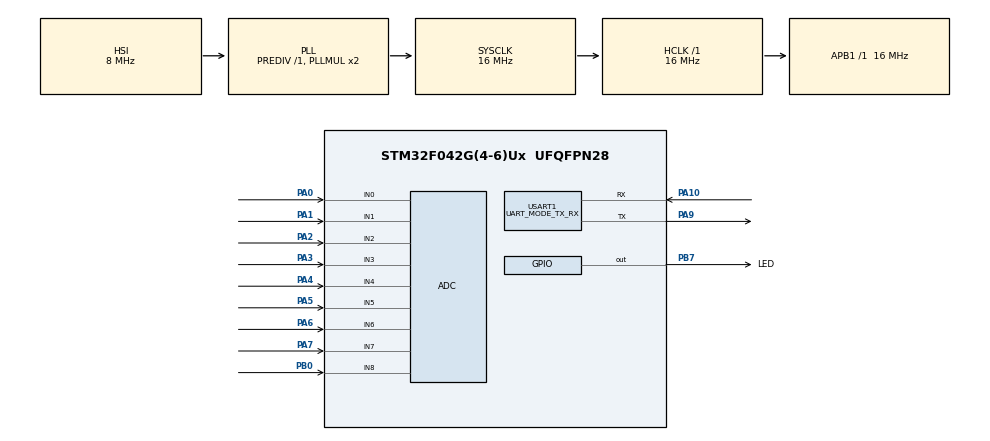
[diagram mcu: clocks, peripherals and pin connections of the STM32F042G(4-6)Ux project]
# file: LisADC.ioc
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ADC.ContinuousConvMode=ENABLE
Mcu.Family=STM32F0
Mcu.Name=STM32F042G(4-6)Ux
Mcu.Package=UFQFPN28
NVIC.USART1_IRQn=true\:0\:0\:false
PA0.Mode=IN0
PA0.Signal=ADC_IN0
PA1.Mode=IN1
PA1.Signal=ADC_IN1
PA10.Mode=Asynchronous
PA10.Signal=USART1_RX
PA13.Mode=Serial-WireDebug
PA13.Signal=SYS_SWDIO
PA14.Mode=Serial-WireDebug
PA14.Signal=SYS_SWCLK
PA2.Mode=IN2
PA2.Signal=ADC_IN2
PA3.Mode=IN3
PA3.Signal=ADC_IN3
PA4.Mode=IN4
PA4.Signal=ADC_IN4
PA5.Mode=IN5
PA5.Signal=ADC_IN5
PA6.Mode=IN6
PA6.Signal=ADC_IN6
PA7.Mode=IN7
PA7.Signal=ADC_IN7
PA9.Mode=Asynchronous
PA9.Signal=USART1_TX
PB0.Mode=IN8
PB0.Signal=ADC_IN8
PB7.GPIO_Label=LED
PB7.Signal=GPIO_Output
ProjectManager.TargetToolchain=SW4STM32
RCC.AHBFreq_Value=16000000
RCC.APB1Freq_Value=16000000
RCC.APB1TimFreq_Value=16000000
RCC.HCLKFreq_Value=16000000
RCC.SYSCLKFreq_VALUE=16000000
RCC.SYSCLKSource=RCC_SYSCLKSOURCE_PLLCLK
USART1.Mode=UART_MODE_TX_RX
USART1.OneBitSampling=UART_ONEBIT_SAMPLING_DISABLED 
USART1.SwapParam=UART_ADVFEATURE_SWAP_ENABLE
USART1.WordLength=UART_WORDLENGTH_8B
board=LisADC

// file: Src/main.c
/**
  ******************************************************************************
  * File Name          : main.c
  * Description        : Main program body
  ******************************************************************************
  *
  * COPYRIGHT(c) 2016 STMicroelectronics
  *
  * Redistribution and use in source and binary forms, with or without modification,
  * are permitted provided that the following conditions are met:
  *   1. Redistributions of source code must retain the above copyright notice,
  *      this list of conditions and the following disclaimer.
  *   2. Redistributions in binary form must reproduce the above copyright notice,
  *      this list of conditions and the following disclaimer in the documentation
  *      and/or other materials provided with the distribution.
  *   3. Neither the name of STMicroelectronics nor the names of its contributors
  *      may be used to endorse or promote products derived from this software
  *      without specific prior written permission.
  *
  * THIS SOFTWARE IS PROVIDED BY THE COPYRIGHT HOLDERS AND CONTRIBUTORS "AS IS"
  * AND ANY EXPRESS OR IMPLIED WARRANTIES, INCLUDING, BUT NOT LIMITED TO, THE
  * IMPLIED WARRANTIES OF MERCHANTABILITY AND FITNESS FOR A PARTICULAR PURPOSE ARE
  * DISCLAIMED. IN NO EVENT SHALL THE COPYRIGHT HOLDER OR CONTRIBUTORS BE LIABLE
  * FOR ANY DIRECT, INDIRECT, INCIDENTAL, SPECIAL, EXEMPLARY, OR CONSEQUENTIAL
  * DAMAGES (INCLUDING, BUT NOT LIMITED TO, PROCUREMENT OF SUBSTITUTE GOODS OR
  * SERVICES; LOSS OF USE, DATA, OR PROFITS; OR BUSINESS INTERRUPTION) HOWEVER
  * CAUSED AND ON ANY THEORY OF LIABILITY, WHETHER IN CONTRACT, STRICT LIABILITY,
  * OR TORT (INCLUDING NEGLIGENCE OR OTHERWISE) ARISING IN ANY WAY OUT OF THE USE
  * OF THIS SOFTWARE, EVEN IF ADVISED OF THE POSSIBILITY OF SUCH DAMAGE.
  *
  ******************************************************************************
  */
#include "stm32f0xx_hal.h"
#include "adc.h"
#include "usart.h"
#include "gpio.h"

/* USER CODE BEGIN Includes */
#include "string.h"
/* USER CODE END Includes */

/* USER CODE BEGIN PV */
/* Private variables ---------------------------------------------------------*/
#define BLINK_TIME 50
uint16_t adc_values[3];
uint8_t adc_msg[12];
uint32_t blink_cnt = 0;

/* USER CODE END PV */

void SystemClock_Config(void);

/* USER CODE BEGIN PFP */
/* Private function prototypes -----------------------------------------------*/
void construct_pprz_msg();
/* USER CODE END PFP */

int main(void)
{

  /* MCU Configuration----------------------------------------------------------*/

  /* Reset of all peripherals, Initializes the Flash interface and the Systick. */
  HAL_Init();

  /* Configure the system clock */
  SystemClock_Config();

  /* Initialize all configured peripherals */
  MX_GPIO_Init();
  MX_ADC_Init();
  MX_USART1_UART_Init();

  /* USER CODE BEGIN 2 */
  // LED OFF
  HAL_GPIO_WritePin(LED_GPIO_Port, LED_Pin, GPIO_PIN_SET);

  uint32_t previous_tick = 0;
  /* USER CODE END 2 */

  /* Infinite loop */
  /* USER CODE BEGIN WHILE */
  while (1)
  {
    while(HAL_GetTick() - previous_tick <= 1) {
      // wait
      //asm("nop");
    }
    previous_tick = HAL_GetTick();
    static uint32_t counter = 0;
    counter++;
    for (uint8_t idx = 0; idx < 3; idx++){
      HAL_ADC_Start(&hadc);
      HAL_ADC_PollForConversion(&hadc, 10);
      adc_values[idx] = (uint16_t) HAL_ADC_GetValue(&hadc);
      /* Increment index */
    }
    // Print out values
    //sprintf(buf, "ANALOG:    %5u   %4u %4u %4u\n", (unsigned int) counter, (unsigned int) metingen[0], (unsigned int) metingen[1], (unsigned int) metingen[2]);
    construct_pprz_msg();
    HAL_UART_Transmit_IT(&huart1, (uint8_t *)adc_msg, 12);
    if(HAL_GetTick() - blink_cnt >= BLINK_TIME) {
      HAL_GPIO_TogglePin(LED_GPIO_Port, LED_Pin);
      blink_cnt = previous_tick;
    }

  /* USER CODE END WHILE */

  }

}

/** System Clock Configuration
*/
void SystemClock_Config(void)
{

  RCC_OscInitTypeDef RCC_OscInitStruct;
  RCC_ClkInitTypeDef RCC_ClkInitStruct;
  RCC_PeriphCLKInitTypeDef PeriphClkInit;

  RCC_OscInitStruct.OscillatorType = RCC_OSCILLATORTYPE_HSI|RCC_OSCILLATORTYPE_HSI14;
  RCC_OscInitStruct.HSIState = RCC_HSI_ON;
  RCC_OscInitStruct.HSI14State = RCC_HSI14_ON;
  RCC_OscInitStruct.HSICalibrationValue = 16;
  RCC_OscInitStruct.HSI14CalibrationValue = 16;
  RCC_OscInitStruct.PLL.PLLState = RCC_PLL_ON;
  RCC_OscInitStruct.PLL.PLLSource = RCC_PLLSOURCE_HSI;
  RCC_OscInitStruct.PLL.PLLMUL = RCC_PLL_MUL2;
  RCC_OscInitStruct.PLL.PREDIV = RCC_PREDIV_DIV1;
  HAL_RCC_OscConfig(&RCC_OscInitStruct);

  RCC_ClkInitStruct.ClockType = RCC_CLOCKTYPE_SYSCLK;
  RCC_ClkInitStruct.SYSCLKSource = RCC_SYSCLKSOURCE_PLLCLK;
  RCC_ClkInitStruct.AHBCLKDivider = RCC_SYSCLK_DIV1;
  RCC_ClkInitStruct.APB1CLKDivider = RCC_HCLK_DIV1;
  HAL_RCC_ClockConfig(&RCC_ClkInitStruct, FLASH_LATENCY_0);

  PeriphClkInit.PeriphClockSelection = RCC_PERIPHCLK_USART1;
  PeriphClkInit.Usart1ClockSelection = RCC_USART1CLKSOURCE_PCLK1;
  HAL_RCCEx_PeriphCLKConfig(&PeriphClkInit);

  HAL_SYSTICK_Config(HAL_RCC_GetHCLKFreq()/1000);

  HAL_SYSTICK_CLKSourceConfig(SYSTICK_CLKSOURCE_HCLK);

  /* SysTick_IRQn interrupt configuration */
  HAL_NVIC_SetPriority(SysTick_IRQn, 0, 0);
}

/* USER CODE BEGIN 4 */

void construct_pprz_msg() {
  adc_msg[0] = 0x99;    // PPRZ STX
  adc_msg[1] = 12;      // length of message
  adc_msg[2] = 114;     // sender_id
  adc_msg[3] = 140;     // message id 140=ADC_DATA
  adc_msg[4] = (uint8_t) (adc_values[0]);      // LSB
  adc_msg[5] = (uint8_t) (adc_values[0] >> 8); // MSB
  adc_msg[6] = (uint8_t) (adc_values[1]);      // LSB
  adc_msg[7] = (uint8_t) (adc_values[1] >> 8); // MSB
  adc_msg[8] = (uint8_t) (adc_values[2]);      // LSB
  adc_msg[9] = (uint8_t) (adc_values[2] >> 8); // MSB

  uint8_t crc_a = 0;
  uint8_t crc_b = 0;
  for (uint8_t i = 1; i < 10; i++) {
    crc_a += adc_msg[i];
    crc_b += crc_a;
  }

  adc_msg[10] = crc_a;
  adc_msg[11] = crc_b;
}

/**
  * @brief  Tx Transfer completed callback
  * @param  UartHandle: UART handle.
  * @note   This example shows a simple way to report end of IT Tx transfer, and
  *         you can add your own implementation.
  * @retval None
  */
void HAL_UART_TxCpltCallback(UART_HandleTypeDef *UartHandle)
{
  /* Set transmission flag: trasfer complete*/

}

/* USER CODE END 4 */

/************************ (C) COPYRIGHT STMicroelectronics *****END OF FILE****/
